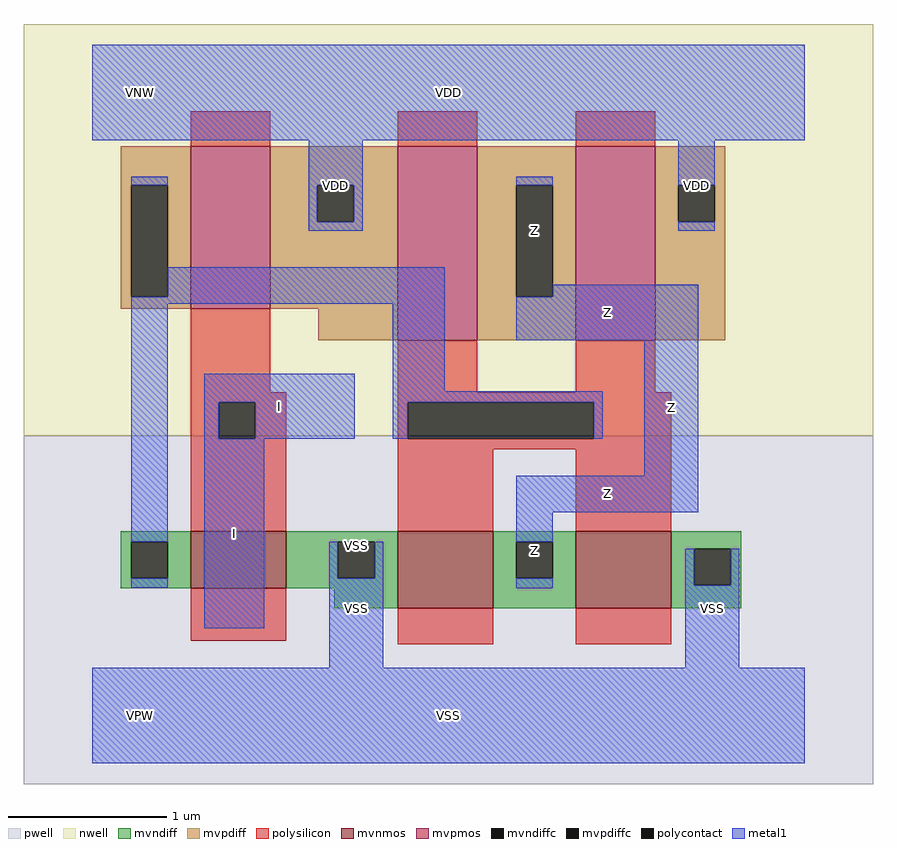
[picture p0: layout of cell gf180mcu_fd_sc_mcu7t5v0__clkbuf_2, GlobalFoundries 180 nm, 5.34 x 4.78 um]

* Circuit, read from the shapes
.subckt gf180mcu_fd_sc_mcu7t5v0__clkbuf_2 I Z VDD VNW VPW VSS
XM1 VSS I n1 VPW nfet_06v0 w=0.36u l=0.6u
XM2 Z n1 VSS VPW nfet_06v0 w=0.485u l=0.6u m=2
XM3 VDD I n1 VNW pfet_06v0 w=1.02u l=0.5u
XM4 Z n1 VDD VNW pfet_06v0 w=1.22u l=0.5u m=2
.ends

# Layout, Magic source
magic
tech gf180mcuD
magscale 1 10
<< nwell >>
rect -86 352 982 870
<< pwell >>
rect -86 -86 982 352
<< mvnmos >>
rect 124 160 244 232
rect 384 135 504 232
rect 608 135 728 232
<< mvpmos >>
rect 124 512 224 716
rect 384 472 484 716
rect 608 472 708 716
<< mvndiff >>
rect 36 219 124 232
rect 36 173 49 219
rect 95 173 124 219
rect 36 160 124 173
rect 244 219 384 232
rect 244 173 309 219
rect 355 173 384 219
rect 244 160 384 173
rect 304 135 384 160
rect 504 219 608 232
rect 504 173 533 219
rect 579 173 608 219
rect 504 135 608 173
rect 728 210 816 232
rect 728 164 757 210
rect 803 164 816 210
rect 728 135 816 164
<< mvpdiff >>
rect 36 667 124 716
rect 36 527 49 667
rect 95 527 124 667
rect 36 512 124 527
rect 224 667 384 716
rect 224 621 283 667
rect 329 621 384 667
rect 224 512 384 621
rect 284 472 384 512
rect 484 667 608 716
rect 484 527 533 667
rect 579 527 608 667
rect 484 472 608 527
rect 708 667 796 716
rect 708 621 737 667
rect 783 621 796 667
rect 708 472 796 621
<< mvndiffc >>
rect 49 173 95 219
rect 309 173 355 219
rect 533 173 579 219
rect 757 164 803 210
<< mvpdiffc >>
rect 49 527 95 667
rect 283 621 329 667
rect 533 527 579 667
rect 737 621 783 667
<< polysilicon >>
rect 124 716 224 760
rect 384 716 484 760
rect 608 716 708 760
rect 124 407 224 512
rect 384 407 484 472
rect 608 407 708 472
rect 124 394 244 407
rect 124 348 159 394
rect 205 348 244 394
rect 124 232 244 348
rect 384 394 728 407
rect 384 348 397 394
rect 631 348 728 394
rect 384 335 728 348
rect 384 232 504 335
rect 608 232 728 335
rect 124 94 244 160
rect 384 90 504 135
rect 608 90 728 135
<< polycontact >>
rect 159 348 205 394
rect 397 348 631 394
<< metal1 >>
rect 0 724 896 844
rect 49 667 95 678
rect 272 667 340 724
rect 272 621 283 667
rect 329 621 340 667
rect 272 610 340 621
rect 533 667 579 678
rect 95 527 443 564
rect 49 518 443 527
rect 49 219 95 518
rect 49 161 95 173
rect 141 394 330 430
rect 141 348 159 394
rect 205 348 330 394
rect 378 408 443 518
rect 737 667 783 724
rect 737 610 783 621
rect 579 527 762 542
rect 533 472 762 527
rect 378 394 642 408
rect 378 348 397 394
rect 631 348 642 394
rect 141 110 216 348
rect 694 302 762 472
rect 533 256 762 302
rect 533 219 579 256
rect 298 173 309 219
rect 355 173 366 219
rect 298 60 366 173
rect 533 160 579 173
rect 746 164 757 210
rect 803 164 814 210
rect 746 60 814 164
rect 0 -60 896 60
<< labels >>
flabel metal1 s 533 542 579 678 0 FreeSans 600 0 0 0 Z
port 2 nsew default output
flabel metal1 s 298 210 366 219 0 FreeSans 400 0 0 0 VSS
port 6 nsew ground bidirectional abutment
flabel metal1 s 0 724 896 844 0 FreeSans 400 0 0 0 VDD
port 3 nsew power bidirectional abutment
flabel metal1 s 141 348 330 430 0 FreeSans 600 0 0 0 I
port 1 nsew default input
flabel nwell s 10 734 110 834 0 FreeSans 400 0 0 0 VNW
port 4 nsew power bidirectional
flabel pwell s 10 -50 110 50 0 FreeSans 400 0 0 0 VPW
port 5 nsew ground bidirectional
rlabel metal1 s 141 110 216 348 1 I
port 1 nsew default input
rlabel metal1 s 533 472 762 542 1 Z
port 2 nsew default output
rlabel metal1 s 694 302 762 472 1 Z
port 2 nsew default output
rlabel metal1 s 533 256 762 302 1 Z
port 2 nsew default output
rlabel metal1 s 533 160 579 256 1 Z
port 2 nsew default output
rlabel metal1 s 737 610 783 724 1 VDD
port 3 nsew power bidirectional abutment
rlabel metal1 s 272 610 340 724 1 VDD
port 3 nsew power bidirectional abutment
rlabel metal1 s 746 60 814 210 1 VSS
port 6 nsew ground bidirectional abutment
rlabel metal1 s 298 60 366 210 1 VSS
port 6 nsew ground bidirectional abutment
rlabel metal1 s 0 -60 896 60 1 VSS
port 6 nsew ground bidirectional abutment
<< properties >>
string FIXED_BBOX 0 0 896 784
string GDS_END 1446794
string GDS_FILE $PDKPATH/libs.ref/gf180mcu_fd_sc_mcu7t5v0/gds/gf180mcu_fd_sc_mcu7t5v0.gds
string GDS_START 1443766
string LEFclass core
string LEFsite GF018hv5v_mcu_sc7
string LEFsymmetry X Y
<< end >>
